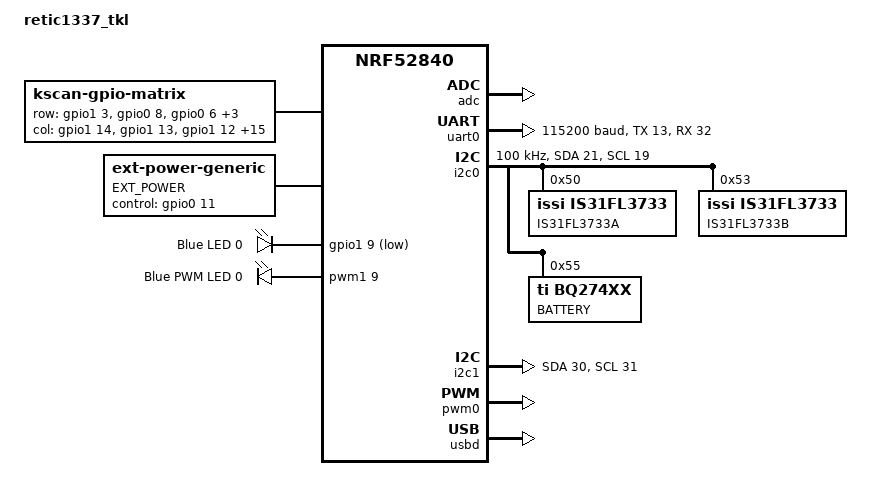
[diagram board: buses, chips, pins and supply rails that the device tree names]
/*
 * Cameron Banna 2020
 */

/dts-v1/;
#include <nordic/nrf52840_qiaa.dtsi>

/ {
	model = "retic1337_tkl";
	compatible = "nordic,pca10056-dk";

	chosen {
		zephyr,console = &uart0;
		zephyr,shell-uart = &uart0;
		zephyr,uart-mcumgr = &uart0;
		zephyr,bt-mon-uart = &uart0;
		zephyr,i2c0 = &i2c0;
		zephyr,i2c_0 = &i2c0;
		zephyr,bt-c2h-uart = &uart0;
		zephyr,sram = &sram0;
		zephyr,flash = &flash0;
		zephyr,code-partition = &slot0_partition;
		zmk,kscan = &kscan0;
	};
  kscan0: kscan {
    compatible = "zmk,kscan-gpio-matrix";
    label = "KSCAN";

    diode-direction = "col2row";
    row-gpios
      = <&gpio1 3 (GPIO_ACTIVE_HIGH | GPIO_PULL_DOWN)>
      , <&gpio0 8 (GPIO_ACTIVE_HIGH | GPIO_PULL_DOWN)>
      , <&gpio0 6 (GPIO_ACTIVE_HIGH | GPIO_PULL_DOWN)>
      , <&gpio0 31 (GPIO_ACTIVE_HIGH | GPIO_PULL_DOWN)>
      , <&gpio0 30 (GPIO_ACTIVE_HIGH | GPIO_PULL_DOWN)>
      , <&gpio0 24 (GPIO_ACTIVE_HIGH | GPIO_PULL_DOWN)>
      ;
    col-gpios
      = <&gpio1 14 GPIO_ACTIVE_HIGH>
      , <&gpio1 13 GPIO_ACTIVE_HIGH>
      , <&gpio1 12 GPIO_ACTIVE_HIGH>
      , <&gpio1 11 GPIO_ACTIVE_HIGH>
       , <&gpio1 15 GPIO_ACTIVE_HIGH>
       , <&gpio0 26 GPIO_ACTIVE_HIGH>
       , <&gpio0 25 GPIO_ACTIVE_HIGH>
       , <&gpio0 28 GPIO_ACTIVE_HIGH>
       , <&gpio0 29 GPIO_ACTIVE_HIGH>
       , <&gpio0 4 GPIO_ACTIVE_HIGH>
       , <&gpio0 5 GPIO_ACTIVE_HIGH>
       , <&gpio0 7 GPIO_ACTIVE_HIGH>
       , <&gpio1 8 GPIO_ACTIVE_HIGH>
       , <&gpio1 6 GPIO_ACTIVE_HIGH>
       , <&gpio1 10 GPIO_ACTIVE_HIGH>
       , <&gpio0 20 GPIO_ACTIVE_HIGH>
       , <&gpio1 7 GPIO_ACTIVE_HIGH>
       , <&gpio0 23 GPIO_ACTIVE_HIGH>
      ;
  };
  	encoder: encoder {
		compatible = "alps,ec11";
		label = "ENCODER";
		a-gpios = <&gpio0 16 (GPIO_ACTIVE_HIGH | GPIO_PULL_UP)>;
		b-gpios = <&gpio0 17 (GPIO_ACTIVE_HIGH | GPIO_PULL_UP)>;
		resolution = <2>;
		status = "disabled";
	};
	ext-power {
		compatible = "zmk,ext-power-generic";
		label = "EXT_POWER";
		control-gpios = <&gpio0 11 GPIO_ACTIVE_HIGH>;
	};
	sensors {
		compatible = "zmk,keymap-sensors";
		sensors = <&encoder>;
	};
  leds {
  	compatible = "gpio-leds";
  	led0_blue: led_0 {
  		gpios = <&gpio1 9 GPIO_ACTIVE_LOW>;
  		label = "Blue LED 0";
  	};
  };

  pwmleds {
  	compatible = "pwm-leds";
  	pwm_led0_blue: pwm_led_0 {
  		pwms = <&pwm1 9>;
  		label = "Blue PWM LED 0";
  	};
  };
  /* These aliases are provided for compatibility with samples */
  aliases {
  	led0 = &led0_blue;
  	led0-blue = &led0_blue;
  	pwm-led0 = &pwm_led0_blue;
  	blue-pwm-led = &pwm_led0_blue;
	i2c0 = &i2c0;
  };
};





&adc {
	status = "okay";
};

&gpiote {
	status = "okay";
};

&gpio0 {
	status = "okay";
};

&gpio1 {
	status = "okay";
};

&uart0 {
	compatible = "nordic,nrf-uart";
	current-speed = <115200>;
	status = "okay";
	tx-pin = <13>;
	rx-pin = <32>;
	rts-pin = <2>;
	cts-pin = <3>;
};

&i2c0 {
	compatible = "nordic,nrf-twi";
	status = "okay";
	sda-pin = <21>;
	scl-pin = <19>;
	clock-frequency = < I2C_BITRATE_STANDARD >;
	is31fl3733a: is31fl3733@50 {
		compatible = "issi,is31fl3733";
		label = "IS31FL3733A";
		reg = <0x50>;
	};
	is31fl3733b: is31fl3733@53 {
		compatible = "issi,is31fl3733";
		label = "IS31FL3733B";
		reg = <0x53>;
	};
	bq27441@55 {
		compatible = "ti,bq274xx";
		label = "BATTERY";
		reg = <0x55>;
		design-voltage = <3700>;
		design-capacity = <900>;
		taper-current = <45>;
		terminate-voltage = <3000>;
	};
};

&i2c1 {
	compatible = "nordic,nrf-twi";
	status = "okay";
	sda-pin = <30>;
	scl-pin = <31>;
};

&pwm0 {
	status = "okay";
	ch0-pin = <41>;
	ch0-inverted;
};

&flash0 {

	partitions {
		compatible = "fixed-partitions";
		#address-cells = <1>;
		#size-cells = <1>;

		boot_partition: partition@0 {
			label = "mcuboot";
			reg = <0x000000000 0x0000C000>;
		};
		slot0_partition: partition@c000 {
			label = "image-0";
			reg = <0x0000C000 0x00067000>;
		};
		slot1_partition: partition@73000 {
			label = "image-1";
			reg = <0x00073000 0x00067000>;
		};
		scratch_partition: partition@da000 {
			label = "image-scratch";
			reg = <0x000da000 0x0001e000>;
		};

		/*
		 * The flash starting at 0x000f8000 and ending at
		 * 0x000fffff is reserved for use by the application.
		 */

		/*
		 * Storage partition will be used by FCB/LittleFS/NVS
		 * if enabled.
		 */
		storage_partition: partition@f8000 {
			label = "storage";
			reg = <0x000f8000 0x00008000>;
		};
	};
};

&usbd {
	compatible = "nordic,nrf-usbd";
	status = "okay";
};
